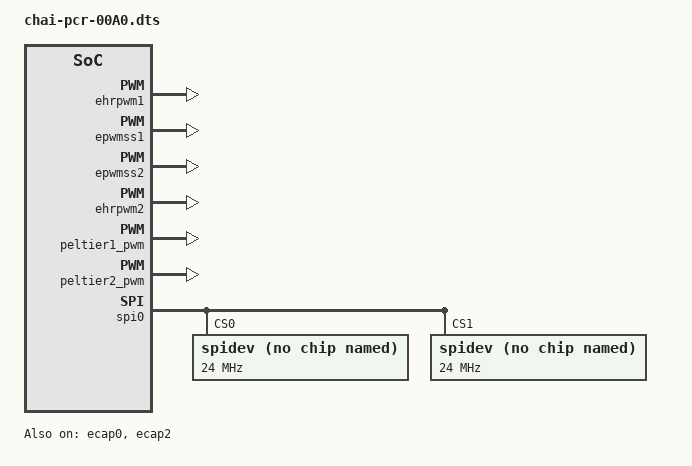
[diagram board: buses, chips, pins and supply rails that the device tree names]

/dts-v1/;
/plugin/;

/{
	compatible = "ti,beaglebone", "ti,beaglebone-black";
	part-number = "chai-pcr";
	version = "00A0";

	/* state the resources this cape uses */
	exclusive-use =
		/* the pin header uses */
		//"P9.14",              /* pwm: ehrpwm1A LED backlight defined in LCD device tree*/ 

		//Peltier
		"P8.13",                /* pwm: ehrpwm2B PELTIER 1 - Ouput*/
		"P8.19",                /* pwm: ehrpwm2A PELTIER 2 - Ouput*/
		"P8.09",                /* gpio: PELTIER 1_INA - Ouput*/
		"P8.11",                /* gpio: PELTIER 1_INB - Ouput*/
		"P8.15",                /* gpio: PELTIER 2_INA - Ouput*/
		"P8.17",                /* gpio: PELTIER 2_INB - Ouput*/

		//LED board
		"P8.18",		/* gpio: LED_DIGIPOT_CS - Ouput */
		"P8.12",		/* gpio: LED XLAT/LED_CONTROL_CS - Ouput */
		"P8.10",		/* gpio: BLANK - Ouput */
		"P8.14",		/* gpio: VPRG - Ouput */
		"P8.08",		/* gpio: XERR - Input */
		"P9.29",		/* SPI1: SPI1_SD0 (SOUT from LED BOARD) - Input */
		"P9.30",		/* SPI1: SPI1_SD1 (SIN to LED BOARD) - Ouput */
		"P9.31",		/* SPI1: SPI1_CLK (SCLK to LED BOARD) - Ouput */

		//LTC2444
		"P9.12",		/* gpio: SPI_CS or LTC2444 CS - Output*/
		"P9.41",		/* gpio: SPI_BUSY or LTC2444 busy - Input */
		"P9.21",		/* SPI0: SPI_SD0 (SDO from LTC2444) - Input */
		"P9.18",		/* SPI0: SPI_SD1 (SDI to LED LTC2444) - Ouput */
		"P9.22",		/* SPI0: SPI_CLK (SCLK to LED LTC2444) - Ouput */

		//LIA MUX
		"P9.11",		/* gpio: MUX_CONTROL_PIN0 - Output*/
		"P9.13",		/* gpio: MUX_CONTROL_PIN1 - Output*/
		"P9.15",		/* gpio: MUX_CONTROL_PIN2 - Output*/
		"P9.17",		/* gpio: MUX_CONTROL_PIN3 - Output*/

		//LID
		"P8.26",		/* gpio: lid open/close sense - Input*/
		"P9.16",		/* pwm: EHRPWM1B LID heater PWM - Output*/

		//fan
		"P9.42",		/* pwm: Fan - Output*/
		"P8.07",		/* gpio: Fan RPM - Input*/
	
		/* the hardware IP uses */
		"spi0",			//SPI for LEDboard
		"spi1",			//SPI for LTC2444
		"eCAP2_in_PWM2_out",	//LED board PWM
		"eCAP0_in_PWM0_out",	//Fan PWM
		"ehrpwm1B", 		//LID heater PWM
		"ehrpwm2A",		//Peltier 2 PWM
		"ehrpwm2B";		//Peltier 1 PWM


		
	fragment@0 {
		target = <&am33xx_pinmux>;
		__overlay__ {
			/* peltier PWM pins */
			
			peltier1_pwm_pin: pinmux_peltier1_pwm_pin {
				pinctrl-single,pins = <
					0x024 0x04  /* P8.13 ehrpwm2b, MODE4 */
				>;
			};
			peltier2__pwm_pin: pinmux_peltier2_pwm_pin {
				pinctrl-single,pins = <
					0x020 0x04  /* P8.19 ehrpwm2a, MODE4 */
				>;
			};

			/* end peltier pins */

			/* GPIO pins*/
			qpcr_gpio_pins: pinmux_qpcr_gpio_pins {
				pinctrl-single,pins = <
					0x09c 0x07  /* P8.09 PELTIER 1_INA gpio2_5, OUTPUT_PULLUP | MODE7 */
					0x034 0x07  /* P8.11 PELTIER 1_INB gpio1_13, OUTPUT_PULLUP | MODE7 */
					0x03c 0x07  /* P8.15 PELTIER 2_INA gpio1_15, OUTPUT_PULLUP | MODE7 */
					0x024 0x07  /* P8.17 PELTIER 1_INB gpio0_27, OUTPUT_PULLUP | MODE7 */
				>;
			};
			/* end GPIO pins*/

			/* SPI0 pins*/
			spi0_pins: pinmux_spi0_pins {
				pinctrl-single,pins = <
					0x154 0x30  /* P9.21 spi0_d0, INPUT_PULLUP | MODE0 */
					0x158 0x10  /* P9.18 spi0_d1, OUTPUT_PULLUP | MODE0 */
 					0x150 0x30  /* P9.22 spi0_sclk, INPUT_PULLUP | MODE0 */
				>;
			};

			/* end SPI0 pins */

			/* SPI1 pins*/
			spi1_pins: pinmux_spi1_pins {
				pinctrl-single,pins = <
					0x194 0x33  /* P9.29 spi1_d0, INPUT_PULLUP | MODE3 */
					0x198 0x13  /* P9.30 spi1_d1, OUTPUT_PULLUP | MODE3 */
					0x190 0x33  /* P9.31 spi1_sclk, INPUT_PULLUP | MODE3 */
				>;
			};

			/* end SPI1 pins */

			
		   
		};
	}
	 from am3xx_pwm 
	fragment@1 {
	    target = <&epwmss0>;
	    __overlay__ {
		    status = "okay";
	    };
	};
	
	fragment@2 {
	    target = <&ehrpwm1>;
	    __overlay__ {
		    status = "okay";
	    };
	};

	fragment@3 {
	    target = <&ecap0>;
	    __overlay__ {
		    status = "okay";
	    };
	};

	fragment@4 {
	    target = <&epwmss1>;
	    __overlay__ {
		    status = "okay";
	    };
	};

	fragment@5 {
	    target = <&epwmss2>;
	    __overlay__ {
		    status = "okay";
	    };
	};

	fragment@6 {
	    target = <&ehrpwm2>;
	    __overlay__ {
		    status = "okay";
	    };
	};

	fragment@7 {
	   target = <&ecap2>;
	    __overlay__ {
		    status = "okay";
	    };
	};

	
	fragment@8 {
		target = <&ocp>;
		__overlay__ {
			peltier1_pwm {
			    compatible      = "pwm_test";
			    pwms            = <&ehrpwm2 1 500000 1>;
			    pwm-names       = "PWM_P9_14";
			pinctrl-names       = "default";
			pinctrl-0   = <&peltier1_pwm_pin>;
			    enabled         = <1>;
			    duty            = <0>;
			    status          = "okay";
			};

			peltier2_pwm {
			    compatible      = "pwm_test";
			    pwms            = <&ehrpwm2 2 500000 1>;
			    pwm-names       = "PWM_P9_16";
			pinctrl-names       = "default";
			pinctrl-0   = <&peltier2_pwm_pin>;
			    enabled         = <1>;
			    duty            = <0>;
			    status          = "okay";
			};

		};
	};

	/* SPI0 */
	fragment@10 {
		target = <&spi0>;
		__overlay__ {
			#address-cells = <1>;
			#size-cells = <0>;

			status = "okay";
			pinctrl-names = "default";
			pinctrl-0 = <&spi0_pins>;

			spidev@0 {
				spi-max-frequency = <24000000>;
				reg = <0>;
				compatible = "spidev";
			};
			spidev@1 {
				spi-max-frequency = <24000000>;
				reg = <1>;
				compatible = "spidev";
			};            
		};
	};
	
	/* SPI1 */
	fragment@11 {
		target = <&spi0>;
		__overlay__ {
			#address-cells = <1>;
			#size-cells = <0>;

			status = "okay";
			pinctrl-names = "default";
			pinctrl-0 = <&spi1_pins>;

			spidev@0 {
				spi-max-frequency = <24000000>;
				reg = <0>;
				compatible = "spidev";
			};
			spidev@1 {
				spi-max-frequency = <24000000>;
				reg = <1>;
				compatible = "spidev";
			};            
		};
	};
	/* GPIO */
	fragment@12 {
		target = <&ocp>;
		__overlay__ {
			test_helper: helper {
				compatible = "bone-pinmux-helper";
				pinctrl-names = "default";
				pinctrl-0 = <&qpcr_gpio_pins>;
				status = "okay";
			};
		};
	};
};
